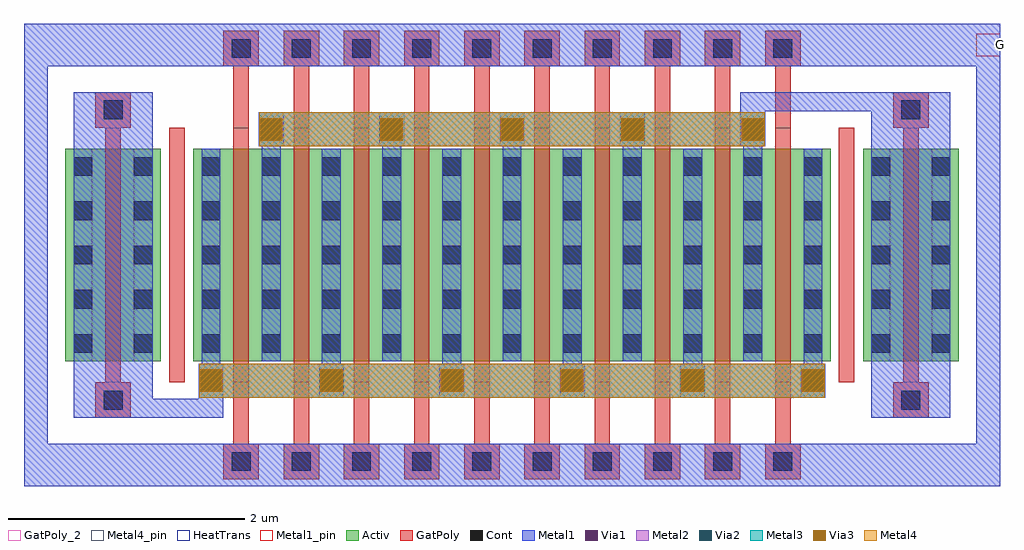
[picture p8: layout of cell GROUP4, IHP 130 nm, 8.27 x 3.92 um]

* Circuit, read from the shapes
.subckt GROUP4 G
XM1 nmos$1_priv1_0/D nmos$1_priv1_0/D nmos$1_priv1_0/D VSUBS sg13_lv_nmos w=1.8u l=0.13u
XM2 nmos$1_priv1_0/S G nmos$1_priv1_0/D VSUBS sg13_lv_nmos w=1.8u l=0.13u m=10
XM3 nmos$1_priv1_0/S nmos$1_priv1_0/S nmos$1_priv1_0/S VSUBS sg13_lv_nmos w=1.8u l=0.13u
.ends

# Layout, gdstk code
import gdstk
lib = gdstk.Library(unit=1e-6, precision=1e-09)
def R(c, l, rs):  # rectangles x0, y0, x1, y1
    for r in rs: c.add(gdstk.rectangle(r[:2], r[2:], *l))
def A(c, l, x, y, w, h, nx, ny, dx, dy):  # array of equal rectangles
    R(c, l, [(x+i*dx, y+j*dy, x+i*dx+w, y+j*dy+h) for i in range(nx) for j in range(ny)])
Activ = (1, 0)
GatPoly = (5, 0)
GatPoly_2 = (5, 2)
Cont = (6, 0)
Metal1 = (8, 0)
Metal1_pin = (8, 2)
Metal2 = (10, 0)
Via1 = (19, 0)
Via2 = (29, 0)
Metal3 = (30, 0)
Via3 = (49, 0)
Metal4 = (50, 0)
Metal4_pin = (50, 2)
HeatTrans = (51, 0)

nmos_1_priv1 = lib.new_cell('nmos$1_priv1')
A(nmos_1_priv1, Activ, 0, 0, 0.3, 0.3, 11, 1, 0.51, 0)
R(nmos_1_priv1, Activ, [(0,0,5.4,1.8)])
A(nmos_1_priv1, GatPoly, 0.255, -1, 0.3, 0.3, 10, 2, 0.51, 3.5)
A(nmos_1_priv1, GatPoly, 0.34, -0.7, 0.13, 0.52, 10, 2, 0.51, 2.68)
A(nmos_1_priv1, GatPoly, 0.34, -0.18, 0.13, 2.16, 10, 1, 0.51, 0)
R(nmos_1_priv1, GatPoly_2, [(0.34,-0.18,0.47,1.98)])
A(nmos_1_priv1, Cont, 0.325, -0.93, 0.16, 0.16, 10, 2, 0.51, 3.5)
A(nmos_1_priv1, Cont, 0.07, 0.07, 0.16, 0.16, 11, 5, 0.51, 0.375)
A(nmos_1_priv1, Metal1, 0.27, -1.06, 0.27, 0.36, 10, 2, 0.51, 3.56)
A(nmos_1_priv1, Metal1, 0.045, -0.31, 0.21, 0.29, 6, 1, 1.02, 0)
A(nmos_1_priv1, Metal1, 0.07, -0.035, 0.16, 0.05, 6, 1, 1.02, 0)
A(nmos_1_priv1, Metal1, 0.07, 0, 0.16, 1.8, 11, 1, 0.51, 0)
A(nmos_1_priv1, Metal1, 0.58, 1.785, 0.16, 0.05, 5, 1, 1.02, 0)
A(nmos_1_priv1, Metal1, 0.555, 1.82, 0.21, 0.29, 5, 1, 1.02, 0)
R(nmos_1_priv1, Metal1_pin, [(0.07,0,0.23,1.8), (0.58,0,0.74,1.8)])
A(nmos_1_priv1, Metal2, 0.05, -0.31, 0.2, 0.29, 6, 1, 1.02, 0)
A(nmos_1_priv1, Metal2, 0.56, 1.82, 0.2, 0.29, 5, 1, 1.02, 0)
R(nmos_1_priv1, Metal2, [(0.05,-0.31,5.35,-0.02), (0.56,1.82,4.84,2.11)])
A(nmos_1_priv1, Via1, 0.055, -0.26, 0.19, 0.19, 6, 1, 1.02, 0)
A(nmos_1_priv1, Via1, 0.565, 1.87, 0.19, 0.19, 5, 1, 1.02, 0)
A(nmos_1_priv1, Via2, 0.055, -0.26, 0.19, 0.19, 6, 1, 1.02, 0)
A(nmos_1_priv1, Via2, 0.565, 1.87, 0.19, 0.19, 5, 1, 1.02, 0)
A(nmos_1_priv1, Metal3, 0.05, -0.31, 0.2, 0.29, 6, 1, 1.02, 0)
A(nmos_1_priv1, Metal3, 0.56, 1.82, 0.2, 0.29, 5, 1, 1.02, 0)
R(nmos_1_priv1, Metal3, [(0.05,-0.31,5.35,-0.02), (0.56,1.82,4.84,2.11)])
A(nmos_1_priv1, Via3, 0.055, -0.26, 0.19, 0.19, 6, 1, 1.02, 0)
A(nmos_1_priv1, Via3, 0.565, 1.87, 0.19, 0.19, 5, 1, 1.02, 0)
A(nmos_1_priv1, Metal4, 0.05, -0.31, 0.2, 0.29, 6, 1, 1.02, 0)
A(nmos_1_priv1, Metal4, 0.56, 1.82, 0.2, 0.29, 5, 1, 1.02, 0)
R(nmos_1_priv1, Metal4, [(0.05,-0.31,5.35,-0.02), (0.56,1.82,4.84,2.11)])
R(nmos_1_priv1, Metal4_pin, [(5.155,-0.26,5.345,-0.07), (4.645,1.87,4.835,2.06)])
A(nmos_1_priv1, HeatTrans, 0.34, -0.18, 0.13, 2.16, 10, 1, 0.51, 0)
nmos_1_priv1.add(gdstk.Label('nmos', (0.405,0.9), layer=63, texttype=0))
nmos_1_priv1.add(gdstk.Label('nmos', (0.405,0.9), layer=51, texttype=0))
nmos_1_priv1.add(gdstk.Label('nmos', (0.915,0.9), layer=51, texttype=0))
nmos_1_priv1.add(gdstk.Label('nmos', (1.425,0.9), layer=51, texttype=0))
nmos_1_priv1.add(gdstk.Label('nmos', (1.935,0.9), layer=51, texttype=0))
nmos_1_priv1.add(gdstk.Label('nmos', (2.445,0.9), layer=51, texttype=0))
nmos_1_priv1.add(gdstk.Label('nmos', (2.955,0.9), layer=51, texttype=0))
nmos_1_priv1.add(gdstk.Label('nmos', (3.465,0.9), layer=51, texttype=0))
nmos_1_priv1.add(gdstk.Label('nmos', (3.975,0.9), layer=51, texttype=0))
nmos_1_priv1.add(gdstk.Label('nmos', (4.485,0.9), layer=51, texttype=0))
nmos_1_priv1.add(gdstk.Label('nmos', (4.995,0.9), layer=51, texttype=0))
nmos_1_priv1.add(gdstk.Label('S', (4.74,1.965), layer=50, texttype=0))
nmos_1_priv1.add(gdstk.Label('D', (5.25,-0.165), layer=50, texttype=0))

nmos_4_priv1 = lib.new_cell('nmos$4_priv1')
R(nmos_4_priv1, Activ, [(0,0,0.3,0.3), (0,0,0.81,1.8), (0.51,0,0.81,0.3)])
R(nmos_4_priv1, GatPoly, [(0.255,-0.48,0.555,-0.18), (0.34,-0.18,0.47,1.98), (0.255,1.98,0.555,2.28)])
R(nmos_4_priv1, GatPoly_2, [(0.34,-0.18,0.47,1.98)])
A(nmos_4_priv1, Cont, 0.07, 0.07, 0.16, 0.16, 1, 5, 0, 0.375)
A(nmos_4_priv1, Cont, 0.58, 0.07, 0.16, 0.16, 1, 5, 0, 0.375)
R(nmos_4_priv1, Cont, [(0.325,-0.41,0.485,-0.25), (0.325,2.05,0.485,2.21)])
R(nmos_4_priv1, Metal1, [(0.07,-0.48,0.74,2.28), (0.07,0,0.23,1.8), (0.58,0,0.74,1.8)])
R(nmos_4_priv1, Metal1_pin, [(0.07,0,0.23,1.8), (0.58,0,0.74,1.8)])
R(nmos_4_priv1, HeatTrans, [(0.34,-0.18,0.47,1.98)])
nmos_4_priv1.add(gdstk.Label('nmos', (0.405,0.9), layer=63, texttype=0))
nmos_4_priv1.add(gdstk.Label('nmos', (0.405,0.9), layer=51, texttype=0))

nmos_4_priv2 = lib.new_cell('nmos$4_priv2')
R(nmos_4_priv2, Activ, [(0,0,0.3,0.3), (0,0,0.81,1.8), (0.51,0,0.81,0.3)])
R(nmos_4_priv2, GatPoly, [(0.255,-0.48,0.555,-0.18), (0.34,-0.18,0.47,1.98), (0.255,1.98,0.555,2.28)])
R(nmos_4_priv2, GatPoly_2, [(0.34,-0.18,0.47,1.98)])
A(nmos_4_priv2, Cont, 0.07, 0.07, 0.16, 0.16, 1, 5, 0, 0.375)
A(nmos_4_priv2, Cont, 0.58, 0.07, 0.16, 0.16, 1, 5, 0, 0.375)
R(nmos_4_priv2, Cont, [(0.325,-0.41,0.485,-0.25), (0.325,2.05,0.485,2.21)])
R(nmos_4_priv2, Metal1, [(0.07,-0.48,0.74,2.28), (0.07,0,0.23,1.8), (0.58,0,0.74,1.8)])
R(nmos_4_priv2, Metal1_pin, [(0.07,0,0.23,1.8), (0.58,0,0.74,1.8)])
R(nmos_4_priv2, HeatTrans, [(0.34,-0.18,0.47,1.98)])
nmos_4_priv2.add(gdstk.Label('nmos', (0.405,0.9), layer=63, texttype=0))
nmos_4_priv2.add(gdstk.Label('nmos', (0.405,0.9), layer=51, texttype=0))

group4 = lib.new_cell('GROUP4')
R(group4, GatPoly, [(239.655,140.42,239.785,142.58), (245.33,140.42,245.46,142.58)])
R(group4, Metal1, [(238.425,139.54,246.695,139.9), (238.425,139.54,238.625,143.46), (246.495,139.54,246.695,143.46), (239.515,140.12,240.115,140.28), (239.905,140.28,240.115,140.58), (244.495,142.42,244.705,142.72), (244.495,142.72,245.605,142.88), (238.425,143.1,246.695,143.46)])
R(group4, Metal1_pin, [(246.495,143.185,246.695,143.375)])
group4.add(gdstk.Reference(nmos_1_priv1, (239.86,140.6)))
group4.add(gdstk.Reference(nmos_4_priv1, (238.775,140.6)))
group4.add(gdstk.Reference(nmos_4_priv2, (245.535,140.6)))
group4.add(gdstk.Label('G', (246.695,143.28), layer=8, texttype=0))

lib.write_gds('GROUP4.gds')
